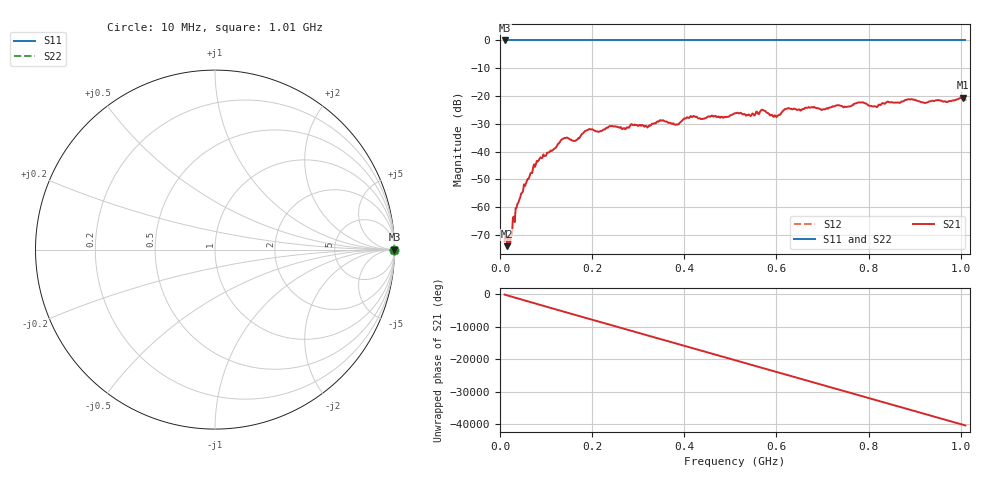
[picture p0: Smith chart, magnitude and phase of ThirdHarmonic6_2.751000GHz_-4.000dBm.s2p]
! 8/17/2025 6:52:55 AM
! C:\ANRITSUVNA\TEMP\TEMP.S2P
! CHANNEL.1
! TR.MEASUREMENT
! RAW.DATA
! RF.CORRECTION.OFF
! AVERAGING.OFF
! IF.BANDWIDTH: 5KHZ
! SWEEPTYPE:  FREQ.SWEEP(Linear)
! Reference Plane Port Info
! PORT:  PORT1  PORT2
! DISTANCE:  0  m  0  m
! TIME:  0  s  0  s
! PHASE.OFFSET:  0  deg.  0  deg.
! LOSS:  0  dB  0  dB
! REF.LOSS:  0  dB  0  dB
! REF.FREQ:  0  Hz  0  Hz
! Power Info
! POWER:  -20  dBm  -20  dBm
! EFF.POWER:  -20  dBm  -20  dBm
! SOURCE.ATTEN:  0  dB  0  dB
! TEST.ATTEN:  0  dB  0  dB
# GHZ S RI R 50.0
! FREQ.GHZ  S11RE  S11IM  S21RE  S21IM  S12RE  S12IM  S22RE  S22IM
!; PortSelection: Port_12
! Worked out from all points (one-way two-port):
!   501 points, 10 MHz to 1.01 GHz, reference 50 ohm
!   highest |S21| = -20.61 dB at 1.004 GHz (marker M1); lowest = -74.0 dB at 16 MHz (marker M2)
!   lowest |S11| = 0.0 dB at 10 MHz (marker M3)
!   |S11| at or under -10 dB: nowhere
!   |S22| runs from 0.0 to 0.0 dB; largest |S21 - S12| = 1.1
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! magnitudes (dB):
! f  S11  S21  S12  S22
! 10 MHz  0.0  -71.9  0.0  0.0
! 16 MHz  0.0  -74.0  0.0  0.0
! 22 MHz  0.0  -73.3  0.0  0.0
! 38 MHz  0.0  -58.7  0.0  0.0
! 76 MHz  0.0  -45.5  0.0  0.0
! 136 MHz  0.0  -35.5  0.0  0.0
! 164 MHz  0.0  -36.1  0.0  0.0
! 178 MHz  0.0  -33.6  0.0  0.0
! 194 MHz  0.0  -31.8  0.0  0.0
! 344 MHz  0.0  -29.2  0.0  0.0
! 384 MHz  0.0  -30.2  0.0  0.0
! 416 MHz  0.0  -27.5  0.0  0.0
! 510 MHz  0.0  -26.2  0.0  0.0
! 570 MHz  0.0  -24.9  0.0  0.0
! 598 MHz  0.0  -27.2  0.0  0.0
! 622 MHz  0.0  -24.6  0.0  0.0
! 678 MHz  0.0  -24.0  0.0  0.0
! 784 MHz  0.0  -22.3  0.0  0.0
! 814 MHz  0.0  -23.6  0.0  0.0
! 844 MHz  0.0  -22.2  0.0  0.0
! 1.004 GHz  0.0  -20.6  0.0  0.0
! 1.01 GHz  0.0  -21.3  0.0  0.0
